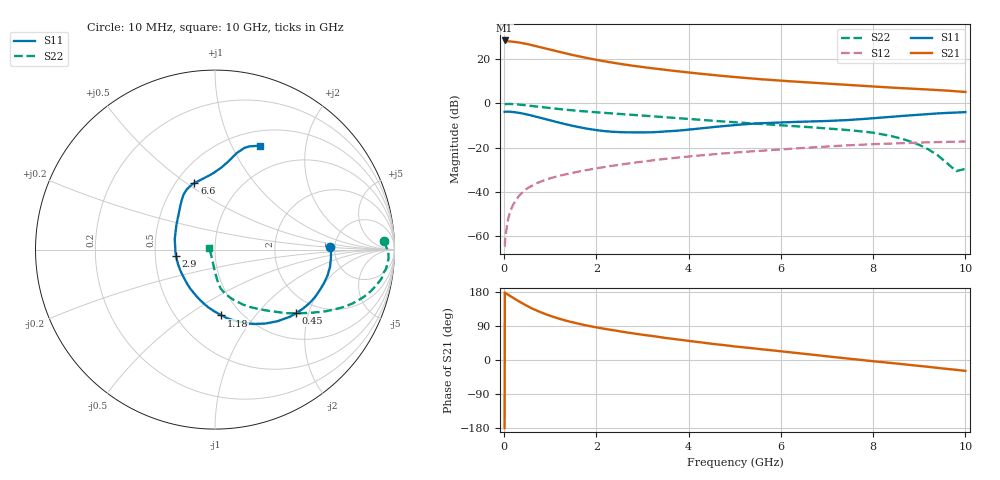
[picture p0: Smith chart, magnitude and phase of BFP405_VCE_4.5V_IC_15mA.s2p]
! Infineon Technologies  Discrete & RF Semiconductors
! BFP405
! VCE =  4.5 V,  IC =  15 mA
! Common Emitter S-Parameters:  Jan 2016
# GHz  S  MA  R  50
!  f  S11  S21  S12  S22
! GHz  MAG  ANG  MAG  ANG  MAG  ANG  MAG  ANG
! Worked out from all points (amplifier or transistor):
!   233 points, 10 MHz to 10 GHz, reference 50 ohm
!   highest |S21| = 28.3 dB at 10 MHz (marker M1)
!   |S21| within 3 dB of that: start of sweep to 777.8 MHz
!   unconditionally stable (mu >= 1): start of sweep to 42.13 MHz; 2.25 GHz to end of sweep
!   at 200 MHz: K = 0.34, MSG = 36.6 dB, |S12| = -45.5 dB
!   at 1.74 GHz: K = 0.87, MSG = 25.5 dB, |S12| = -30.3 dB
!   at 10 GHz: K = 1.34, MAG = 7.7 dB, |S12| = -17.2 dB
!   S11 on the Smith chart (normalised r, x): 10 MHz: 4.56, +0.26; 450 MHz: 1.57, -1.67; 1.18 GHz: 0.81, -0.69; 2.9 GHz: 0.64, -0.05; 6.6 GHz: 0.62, +0.54; 10 GHz: 0.67, +1.29
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0.01  0.6413 1.5  26.11 -179.5  0.0006 2.1  0.9451 2.9
0.02  0.6465 -0.9  25.65 176.5  0.0008 51.9  0.9558 0.6
0.05  0.6479 -4.0  25.13 175.1  0.0014 62.4  0.9658 -0.7
0.105  0.6472 -8.9  25 170.7  0.0029 69.5  0.9678 -3.1
0.2  0.6342 -17.5  24.44 163.7  0.0053 74.1  0.9583 -6.5
0.32  0.6101 -27.7  23.51 154.9  0.0081 73.6  0.938 -10.3
0.45  0.5748 -38.1  22.2 145.8  0.0109 71.4  0.9083 -13.9
0.6  0.529 -49.0  20.5 136.3  0.0138 68.7  0.8714 -17.5
0.8  0.4675 -62.4  18.25 125.6  0.0173 66.2  0.823 -21.4
1  0.4123 -74.2  16.17 116.4  0.0204 64.4  0.7787 -24.4
1.18  0.3685 -84.4  14.55 109.5  0.0229 63.1  0.7433 -26.7
1.4  0.3246 -96.4  12.85 101.9  0.0259 62.0  0.7058 -29.1
1.68  0.2818 -110.8  11.11 94.0  0.0297 61.0  0.6652 -31.6
2.2  0.2345 -137.5  8.76 81.7  0.0369 59.0  0.6048 -35.8
2.9  0.22 -170.6  6.782 68.5  0.0469 55.7  0.538 -41.2
3.4  0.2277 168.7  5.828 60.0  0.0544 52.7  0.4928 -45.0
4  0.2552 147.4  4.941 50.2  0.0632 48.8  0.4424 -50.0
5.1  0.3298 124.4  3.824 34.6  0.0788 40.6  0.3671 -59.6
6.6  0.3878 107.2  2.949 15.1  0.1002 29.5  0.2906 -70.9
6.8  0.3927 103.9  2.856 12.5  0.1032 27.9  0.2807 -72.3
8.4  0.4967 81.4  2.258 -8.0  0.124 13.5  0.1814 -84.8
10  0.6314 66.5  1.8 -28.6  0.138 0.4  0.0332 162.6
